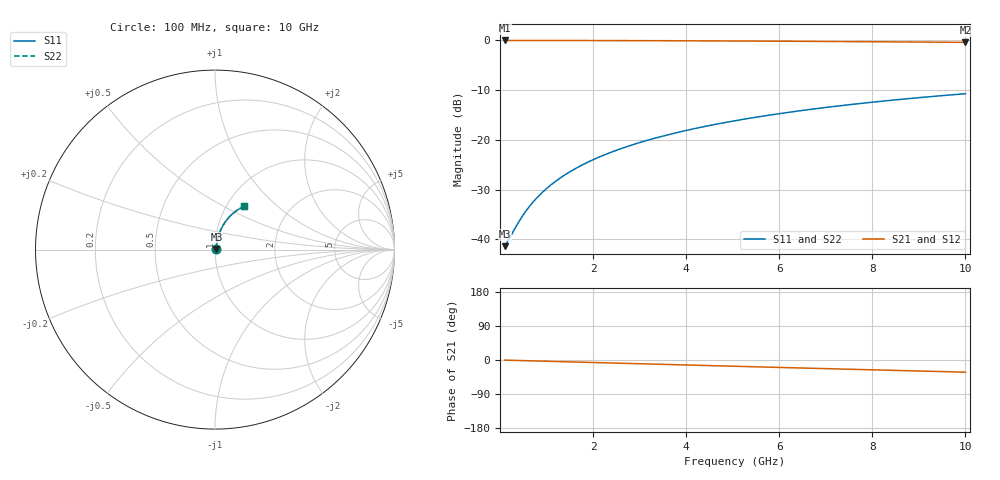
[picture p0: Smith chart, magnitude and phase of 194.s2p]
# Hz S RI R 50.00
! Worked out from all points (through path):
!   100 points, 100 MHz to 10 GHz, reference 50 ohm
!   highest |S21| = -0.07 dB at 100 MHz (marker M1); lowest = -0.5 dB at 10 GHz (marker M2)
!   group delay of S21, straight-line fit = 8.95 ps
!   lowest |S11| = -41.3 dB at 100 MHz (marker M3), VSWR 1.02, Z = 50.8 + j0.314 ohm
!   |S11| at or under -10 dB: start of sweep to end of sweep
!   |S22| runs from -41.3 to -10.8 dB; largest |S21 - S12| = 0
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1e8  0.00798 0.00309  0.992 -0.00571  0.992 -0.00571  0.00798 0.00309
2e8  0.00809 0.00618  0.9919 -0.0114  0.9919 -0.0114  0.00809 0.00618
4e8  0.00837 0.0124  0.9916 -0.0228  0.9916 -0.0228  0.00837 0.0124
5e8  0.00856 0.0154  0.9913 -0.0285  0.9913 -0.0285  0.00856 0.0154
6e8  0.00878 0.0185  0.9911 -0.0342  0.9911 -0.0342  0.00878 0.0185
7e8  0.00903 0.0216  0.9908 -0.0399  0.9908 -0.0399  0.00903 0.0216
8e8  0.00931 0.0247  0.9904 -0.0456  0.9904 -0.0456  0.00931 0.0247
1e9  0.00998 0.0308  0.9896 -0.057  0.9896 -0.057  0.00998 0.0308
1.2e9  0.0108 0.0369  0.9887 -0.0684  0.9887 -0.0684  0.0108 0.0369
1.5e9  0.0123 0.046  0.9869 -0.0854  0.9869 -0.0854  0.0123 0.046
1.8e9  0.014 0.0551  0.9848 -0.1023  0.9848 -0.1023  0.014 0.0551
2.1e9  0.0161 0.0641  0.9823 -0.1192  0.9823 -0.1192  0.0161 0.0641
2.5e9  0.0194 0.076  0.9784 -0.1415  0.9784 -0.1415  0.0194 0.076
2.9e9  0.0232 0.0876  0.9738 -0.1637  0.9738 -0.1637  0.0232 0.0876
3.4e9  0.0286 0.1019  0.9673 -0.1911  0.9673 -0.1911  0.0286 0.1019
4.2e9  0.039 0.124  0.9548 -0.2343  0.9548 -0.2343  0.039 0.124
5.1e9  0.0529 0.1474  0.9379 -0.2814  0.9379 -0.2814  0.0529 0.1474
5.9e9  0.0671 0.1669  0.9206 -0.322  0.9206 -0.322  0.0671 0.1669
6.7e9  0.0829 0.1848  0.9012 -0.3611  0.9012 -0.3611  0.0829 0.1848
7.5e9  0.1001 0.2012  0.8799 -0.3986  0.8799 -0.3986  0.1001 0.2012
8.4e9  0.1209 0.2175  0.854 -0.4388  0.854 -0.4388  0.1209 0.2175
1e10  0.1608 0.241  0.8034 -0.5048  0.8034 -0.5048  0.1608 0.241
